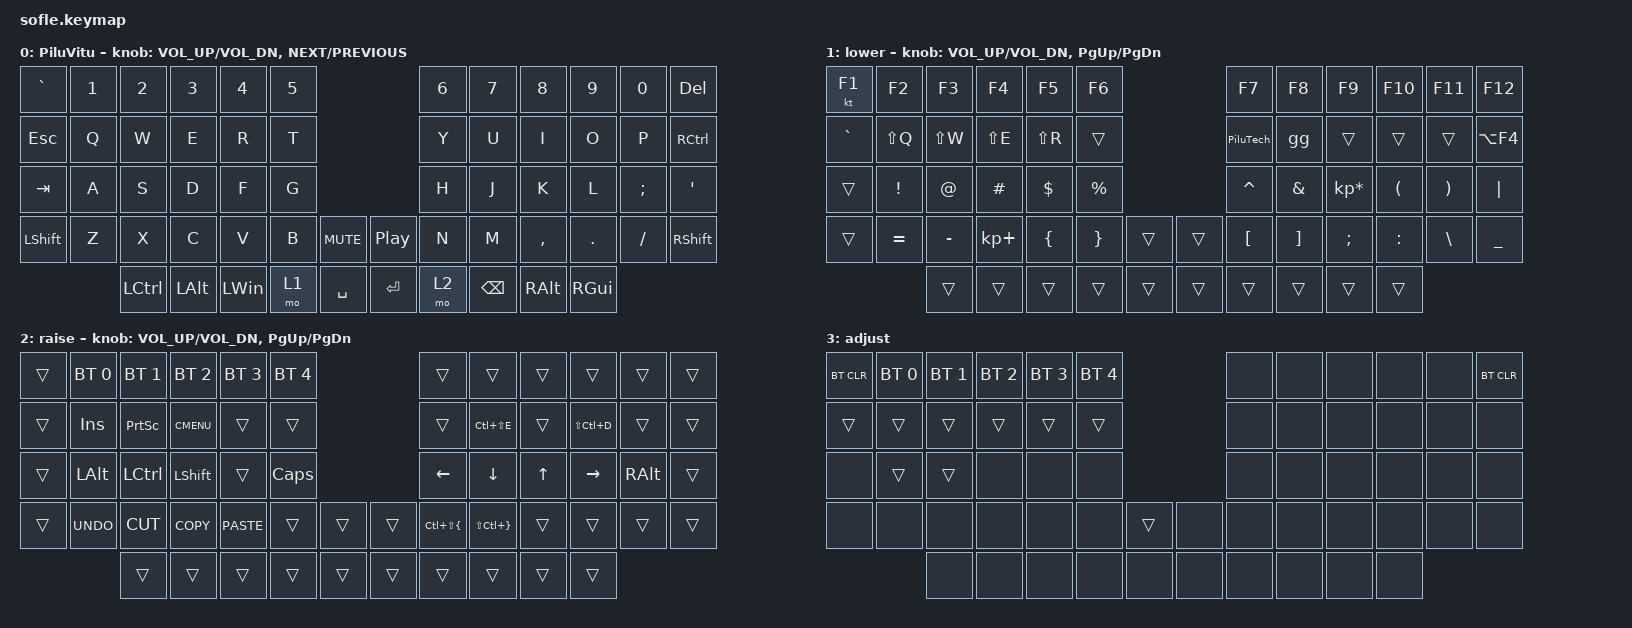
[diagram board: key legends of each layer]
/*
 * Copyright (c) 2020 The ZMK Contributors
 *
 * SPDX-License-Identifier: MIT
 */

#include <behaviors.dtsi>
#include <dt-bindings/zmk/bt.h>
#include <dt-bindings/zmk/keys.h>

#define BASE 0
#define LOWER 1
#define RAISE 2
#define ADJUST 3

/ {
    // Activate ADJUST layer by pressing raise and lower

    conditional_layers {
        compatible = "zmk,conditional-layers";

        adjust_layer {
            if-layers = <1 2>;
            then-layer = <3>;
        };
    };

    macros {
        PiluTech: PiluTech {
            compatible = "zmk,behavior-macro";
            #binding-cells = <0>;
            bindings = <&kp RS(ENTER) &kp V &kp O &kp C &kp E &kp SPACE &kp F &kp O &kp I &kp SPACE &kp R &kp U &kp L &kp A &kp D &kp O &kp SPACE &kp P &kp E &kp L &kp O &kp SPACE &kp P &kp I &kp L &kp U &kp SPACE &kp T &kp E &kp C &kp H &kp SPACE &kp ENTER>;
            label = "PILUTECH";
        };

        gg: gg {
            compatible = "zmk,behavior-macro";
            #binding-cells = <0>;
            bindings = <&kp LS(ENTER) &kp G &kp G &kp SPACE &kp I &kp Z &kp I &kp SPACE &kp K &kp R &kp L &kp ENTER>;
            label = "GG";
        };
    };

    keymap {
        compatible = "zmk,keymap";

        default_layer {
            label = "PiluVitu";

            // ------------------------------------------------------------------------------------------------------------
            // |   `   |  1  |  2  |  3   |  4   |  5   |                   |  6   |  7    |  8    |  9   |   0   |       |
            // |  ESC  |  Q  |  W  |  E   |  R   |  T   |                   |  Y   |  U    |  I    |  O   |   P   | BKSPC |
            // |  TAB  |  A  |  S  |  D   |  F   |  G   |                   |  H   |  J    |  K    |  L   |   ;   |   '   |
            // | SHIFT |  Z  |  X  |  C   |  V   |  B   |  MUTE  |  |       |  N   |  M    |  ,    |  .   |   /   | SHIFT |
            //               | GUI | ALT  | CTRL | LOWER|  ENTER |  | SPACE | RAISE| CTRL  | ALT   | GUI  |

            bindings = <
&kp GRAVE  &kp N1  &kp N2     &kp N3    &kp N4        &kp N5                                  &kp N6  &kp N7         &kp N8         &kp N9    &kp N0    &kp DELETE
&kp ESC    &kp Q   &kp W      &kp E     &kp R         &kp T                                   &kp Y   &kp U          &kp I          &kp O     &kp P     &kp RIGHT_CONTROL
&kp TAB    &kp A   &kp S      &kp D     &kp F         &kp G                                   &kp H   &kp J          &kp K          &kp L     &kp SEMI  &kp SINGLE_QUOTE
&kp LSHFT  &kp Z   &kp X      &kp C     &kp V         &kp B   &kp C_MUTE    &kp C_PLAY_PAUSE  &kp N   &kp M          &kp COMMA      &kp DOT   &kp FSLH  &kp RSHFT
                   &kp LCTRL  &kp LALT  &kp LEFT_WIN  &mo 1   &kp SPACE     &kp ENTER         &mo 2   &kp BACKSPACE  &kp RIGHT_ALT  &kp RGUI
            >;

            sensor-bindings =
                <&inc_dec_kp C_VOL_UP C_VOL_DN>,
                <&inc_dec_kp C_NEXT C_PREVIOUS>;
        };

        lower_layer {
            label = "lower";

            // TODO: Some binds are waiting for shifted keycode support.
            // ------------------------------------------------------------------------------------------------------------
            // |       |  F1 |  F2 |  F3  |  F4  |  F5  |                   |  F6  |  F7   |  F8   |  F9  |  F10  |  F11  |
            // |   `   |  1  |  2  |  3   |  4   |  5   |                   |  6   |  7    |  8    |  9   |   0   |  F12  |
            // |       |  !  |  @  |  #   |  $   |  %   |                   |  ^   |  &    |  *    |  (   |   )   |   |   |
            // |       |  =  |  -  |  +   |  {   |  }   |        |  |       |  [   |  ]    |  ;    |  :   |   \   |       |
            //               |     |      |      |      |        |  |       |      |       |       |      |

            bindings = <
&kt F1     &kp F2     &kp F3     &kp F4       &kp F5     &kp F6                       &kp F7     &kp F8    &kp F9           &kp F10    &kp F11   &kp F12
&kp GRAVE  &kp LS(Q)  &kp LS(W)  &kp LS(E)    &kp LS(R)  &trans                       &PiluTech  &gg       &trans           &trans     &trans    &kp LA(F4)
&trans     &kp EXCL   &kp AT     &kp HASH     &kp DLLR   &kp PRCNT                    &kp CARET  &kp AMPS  &kp KP_MULTIPLY  &kp LPAR   &kp RPAR  &kp PIPE
&trans     &kp EQUAL  &kp MINUS  &kp KP_PLUS  &kp LBRC   &kp RBRC   &trans    &trans  &kp LBKT   &kp RBKT  &kp SEMI         &kp COLON  &kp BSLH  &kp UNDERSCORE
                      &trans     &trans       &trans     &trans     &trans    &trans  &trans     &trans    &trans           &trans
            >;

            sensor-bindings = <&inc_dec_kp C_VOL_UP C_VOL_DN &inc_dec_kp PG_UP PG_DN>;
        };

        raise_layer {
            label = "raise";

            // ------------------------------------------------------------------------------------------------------------
            // | BTCLR | BT1  | BT2  |  BT3  |  BT4  |  BT5 |                |      |      |       |      |       |       |
            // |       | INS  | PSCR | GUI   |       |      |                | PGUP |      |   ^   |      |       |       |
            // |       | ALT  | CTRL | SHIFT |       | CAPS |                | PGDN |   <- |   v   |  ->  |  DEL  | BKSPC |
            // |       | UNDO | CUT  | COPY  | PASTE |      |      |  |      |      |      |       |      |       |       |
            //                |      |       |       |      |      |  |      |      |      |       |      |

            bindings = <
&trans  &bt BT_SEL 0  &bt BT_SEL 1  &bt BT_SEL 2  &bt BT_SEL 3  &bt BT_SEL 4                    &trans                  &trans                   &trans        &trans         &trans         &trans
&trans  &kp INS       &kp PSCRN     &kp K_CMENU   &trans        &trans                          &trans                  &kp LC(LS(E))            &trans        &kp LS(LC(D))  &trans         &trans
&trans  &kp LALT      &kp LCTRL     &kp LSHFT     &trans        &kp CLCK                        &kp LEFT                &kp DOWN_ARROW           &kp UP_ARROW  &kp RIGHT      &kp RIGHT_ALT  &trans
&trans  &kp K_UNDO    &kp K_CUT     &kp K_COPY    &kp K_PASTE   &trans        &trans    &trans  &kp LC(LS(LEFT_BRACE))  &kp LS(LC(RIGHT_BRACE))  &trans        &trans         &trans         &trans
                      &trans        &trans        &trans        &trans        &trans    &trans  &trans                  &trans                   &trans        &trans
            >;

            sensor-bindings = <&inc_dec_kp C_VOL_UP C_VOL_DN &inc_dec_kp PG_UP PG_DN>;
        };

        adjust_layer {
            // ----------------------------------------------------------------------------------------------------------------------------
            // | BTCLR  |  BT1    |  BT2    |   BT3   |   BT4   |   BT5   |                  |      |      |       |      |       |       |
            // | EXTPWR | RGB_HUD | RGB_HUI | RGB_SAD | RGB_SAI | RGB_EFF |                  |      |      |       |      |       |       |
            // |        | RGB_BRD | RGB_BRI |         |         |         |                  |      |      |       |      |       |       |
            // |        |         |         |         |         |         | RGB_TOG | |      |      |      |       |      |       |       |
            //                    |         |         |         |         |         | |      |      |      |       |      |

            label = "adjust";
            bindings = <
&bt BT_CLR  &bt BT_SEL 0  &bt BT_SEL 1  &bt BT_SEL 2  &bt BT_SEL 3  &bt BT_SEL 4                   &none  &none  &none  &none  &none  &bt BT_CLR
&trans      &trans        &trans        &trans        &trans        &trans                         &none  &none  &none  &none  &none  &none
&none       &trans        &trans        &none         &none         &none                          &none  &none  &none  &none  &none  &none
&none       &none         &none         &none         &none         &none         &trans    &none  &none  &none  &none  &none  &none  &none
                          &none         &none         &none         &none         &none     &none  &none  &none  &none  &none
            >;
        };
    };
};
